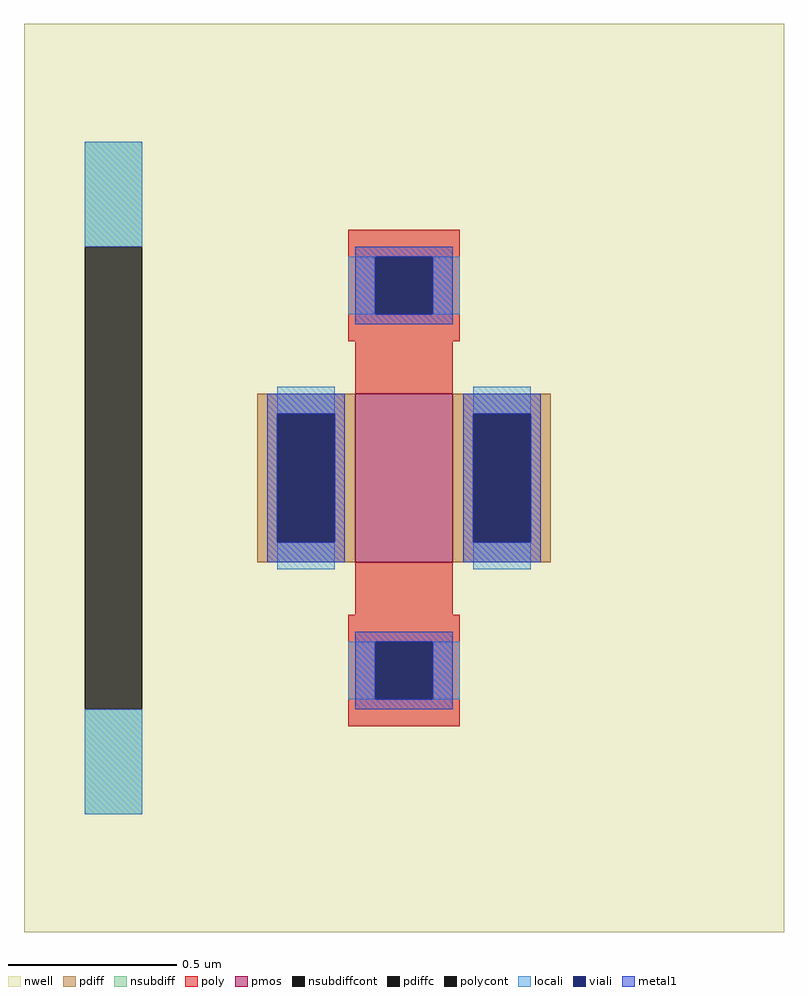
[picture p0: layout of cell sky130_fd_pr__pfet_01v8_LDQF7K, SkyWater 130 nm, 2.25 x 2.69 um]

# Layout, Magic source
magic
tech sky130A
magscale 1 2
<< nwell >>
rect -225 -269 225 269
<< pmos >>
rect -29 -50 29 50
<< pdiff >>
rect -87 38 -29 50
rect -87 -38 -75 38
rect -41 -38 -29 38
rect -87 -50 -29 -38
rect 29 38 87 50
rect 29 -38 41 38
rect 75 -38 87 38
rect 29 -50 87 -38
<< pdiffc >>
rect -75 -38 -41 38
rect 41 -38 75 38
<< nsubdiff >>
rect -189 137 -155 199
rect -189 -199 -155 -137
<< nsubdiffcont >>
rect -189 -137 -155 137
<< poly >>
rect -33 131 33 147
rect -33 97 -17 131
rect 17 97 33 131
rect -33 81 33 97
rect -29 50 29 81
rect -29 -81 29 -50
rect -33 -97 33 -81
rect -33 -131 -17 -97
rect 17 -131 33 -97
rect -33 -147 33 -131
<< polycont >>
rect -17 97 17 131
rect -17 -131 17 -97
<< locali >>
rect -189 137 -155 199
rect -33 97 -17 131
rect 17 97 33 131
rect -75 38 -41 54
rect -75 -54 -41 -38
rect 41 38 75 54
rect 41 -54 75 -38
rect -33 -131 -17 -97
rect 17 -131 33 -97
rect -189 -199 -155 -137
<< viali >>
rect -17 97 17 131
rect -75 -38 -41 38
rect 41 -38 75 38
rect -17 -131 17 -97
<< metal1 >>
rect -29 131 29 137
rect -29 97 -17 131
rect 17 97 29 131
rect -29 91 29 97
rect -81 38 -35 50
rect -81 -38 -75 38
rect -41 -38 -35 38
rect -81 -50 -35 -38
rect 35 38 81 50
rect 35 -38 41 38
rect 75 -38 81 38
rect 35 -50 81 -38
rect -29 -97 29 -91
rect -29 -131 -17 -97
rect 17 -131 29 -97
rect -29 -137 29 -131
<< properties >>
string FIXED_BBOX -172 -216 172 216
string gencell sky130_fd_pr__pfet_01v8
string library sky130
string parameters w 0.5 l 0.285 m 1 nf 1 diffcov 100 polycov 100 guard 1 glc 1 grc 1 gtc 1 gbc 1 tbcov 100 rlcov 100 topc 1 botc 1 poverlap 0 doverlap 1 lmin 0.15 wmin 0.42 compatible {sky130_fd_pr__pfet_01v8  sky130_fd_pr__pfet_01v8_lvt sky130_fd_pr__pfet_01v8_hvt  sky130_fd_pr__pfet_g5v0d10v5} full_metal 1 viasrc 100 viadrn 100 viagate 100 viagb 0 viagr 0 viagl 0 viagt 0
<< end >>
